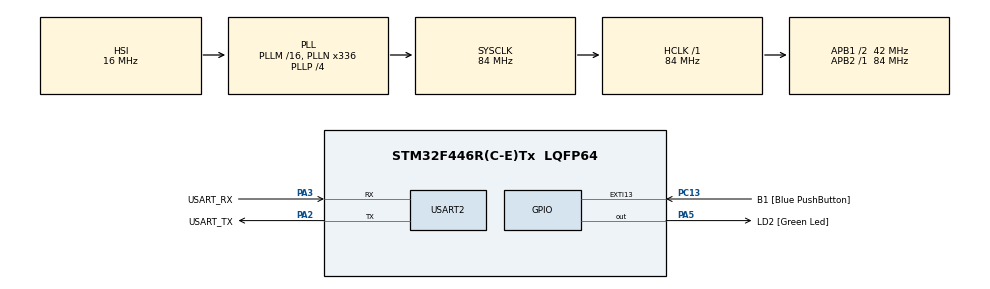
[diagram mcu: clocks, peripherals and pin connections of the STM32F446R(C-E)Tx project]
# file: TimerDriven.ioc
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Mcu.Family=STM32F4
Mcu.Name=STM32F446R(C-E)Tx
Mcu.Package=LQFP64
NVIC.PriorityGroup=NVIC_PRIORITYGROUP_0
PA13.GPIO_Label=TMS
PA13.Mode=Serial_Wire
PA13.Signal=SYS_JTMS-SWDIO
PA14.GPIO_Label=TCK
PA14.Mode=Serial_Wire
PA14.Signal=SYS_JTCK-SWCLK
PA2.GPIO_Label=USART_TX
PA2.Mode=Asynchronous
PA2.Signal=USART2_TX
PA3.GPIO_Label=USART_RX
PA3.Mode=Asynchronous
PA3.Signal=USART2_RX
PA5.GPIO_Label=LD2 [Green Led]
PA5.Signal=GPIO_Output
PB3.GPIO_Label=SWO
PB3.Signal=SYS_JTDO-SWO
PC13.GPIO_Label=B1 [Blue PushButton]
PC13.GPIO_ModeDefaultEXTI=GPIO_MODE_IT_FALLING
PC13.Signal=GPXTI13
PC14-OSC32_IN.Mode=LSE-External-Oscillator
PC14-OSC32_IN.Signal=RCC_OSC32_IN
PC15-OSC32_OUT.Mode=LSE-External-Oscillator
PC15-OSC32_OUT.Signal=RCC_OSC32_OUT
PH0-OSC_IN.Mode=HSE-External-Oscillator
PH0-OSC_IN.Signal=RCC_OSC_IN
PH1-OSC_OUT.Mode=HSE-External-Oscillator
PH1-OSC_OUT.Signal=RCC_OSC_OUT
ProjectManager.HeapSize=0x200
ProjectManager.StackSize=0x400
ProjectManager.TargetToolchain=STM32CubeIDE
RCC.48MHZClocksFreq_Value=84000000
RCC.AHBFreq_Value=84000000
RCC.APB1CLKDivider=RCC_HCLK_DIV2
RCC.APB1Freq_Value=42000000
RCC.APB1TimFreq_Value=84000000
RCC.APB2Freq_Value=84000000
RCC.APB2TimFreq_Value=84000000
RCC.CortexFreq_Value=84000000
RCC.FLatency-AdvancedSettings=FLASH_LATENCY_2
RCC.HCLKFreq_Value=84000000
RCC.HSE_VALUE=8000000
RCC.HSI_VALUE=16000000
RCC.PLLN=336
RCC.PLLP=RCC_PLLP_DIV4
RCC.SYSCLKFreq_VALUE=84000000
RCC.SYSCLKSource=RCC_SYSCLKSOURCE_PLLCLK
RCC.USBFreq_Value=168000000
RCC.VCOOutputFreq_Value=336000000
USART2.VirtualMode=VM_ASYNC
board=NUCLEO-F446RE

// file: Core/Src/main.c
/* USER CODE BEGIN Header */
/**
  ******************************************************************************
  * @file           : main.c
  * @brief          : Main program body
  ******************************************************************************
  * @attention
  *
  * Copyright (c) 2024 STMicroelectronics.
  * All rights reserved.
  *
  * This software is licensed under terms that can be found in the LICENSE file
  * in the root directory of this software component.
  * If no LICENSE file comes with this software, it is provided AS-IS.
  *
  ******************************************************************************
  */
/* USER CODE END Header */
#include "main.h"
#include<stdio.h>

/* Private includes ----------------------------------------------------------
 *
 * */

/* USER CODE BEGIN PTD */

void setTIM2()
{
  //want to set TIM2 APB1
  RCC->APB1ENR |= (1U<<0); //enabling TM2
  //considring tm2 to be of 16MHz
  TIM2->PSC = 16000-1;
  TIM2->ARR = 1000-1;

  TIM2->CNT = 0;

}

void TIM2Delay(int delaySec)
{
   uint32_t MY_ARR_DEFAULT = TIM2->ARR;
  TIM2->ARR *= delaySec;

  TIM2->CNT = 0;

  TIM2->CR1 |= (1<<0);
  while(!((TIM2->SR)&(0x001)));

  TIM2->SR &= ~(1<<0);

   TIM2->ARR = MY_ARR_DEFAULT;
  // TIM2->CR1
}

/* USER CODE END PTD */

/* USER CODE BEGIN PD */
void ToggleLED()
{
  GPIOA->ODR ^= (1<<5);
}
/* USER CODE END PD */

UART_HandleTypeDef huart2;

void SystemClock_Config(void);
static void MX_GPIO_Init(void);
static void MX_USART2_UART_Init(void);

/* USER CODE BEGIN 0 */

  void Interupt_TIM2()
  {
    // it's take that setTIM2 is already called
    TIM2->DIER |= (1U<<0);

  }

  void TIM2_IRQHandler()
  {

  }

/* USER CODE END 0 */

// #define Interupt

#define ExternalInterupt

#ifdef ExternalInterupt

#define EXTI_C13    (2 << 4)
#define BUTTON_PIN (1<<13)

void EXTI15_10_IRQHandler(void){
  if(EXTI->PR & BUTTON_PIN){
      EXTI->PR |= BUTTON_PIN;
      GPIOA->ODR ^= (1<<5);
      printf("in EXTI ISR\n");
  }
}

int main()
{

  RCC->AHB1ENR |= RCC_AHN1ENR_GPIOAEN | RCC_AHB1ENR_GPIOCEN;
  RCC->APB2ENR |= RCC_APB2ENR_SYSCFGEN; // I don't know what is this for

  GPIOA->MODER |= (1<<10);
  GPIOA->OSPEEDR |= (1<<10);

  __disable_irq();

  SYSCFG->EXTICR[3] |= EXTI_C13;
  EXTI->IMR |= BUTTON_PIN;
  EXTI->FTSR |= BUTTON_PIN;

  NVIC_EnableIRQ(EXTI15_10_IRQn);

  __enable_irq();

  while(1)
  {
    printf("in while\n");
    for(uint32_t i=0;i<=0xffffff;i++);
  }
}

#endif

#ifdef Interupt

int main(void)
{

  /* USER CODE BEGIN 1 */

  RCC->AHB1ENR |= (1<<0);

  GPIOA->MODER |= (1<<10);
  GPIOA->OTYPER &= ~(1<<0);
  GPIOA->OSPEEDR |= (3<<10);
  GPIOA->PUPDR &= ~(1<<10);

  setTIM2();
  printf("In main\n");
  /* USER CODE END 1 */

  /* MCU Configuration--------------------------------------------------------*/

  /* Reset of all peripherals, Initializes the Flash interface and the Systick. */
  HAL_Init();

  /* Configure the system clock */
  SystemClock_Config();

  /* Initialize all configured peripherals */
  MX_GPIO_Init();
  MX_USART2_UART_Init();
  /* USER CODE BEGIN 2 */

  int counter=0;
  int rateStart = 5;
  int rateUPto = 0.25;
  int countCheck = 2;
  /* USER CODE END 2 */

  /* Infinite loop */
  /* USER CODE BEGIN WHILE */
  while (1)
  {
	  // TIM2Delay(5);
	  // ToggleLED();
    //delay working fine
    if(counter == countCheck)
    {
      countCheck = 5 - rateStart%5;
      rateStart -= 0.5;
      if(countCheck<counter)
      {
        countCheck = countCheck + counter;
        counter = countCheck - counter;
      }
    }
    if(rateStart<rateUPto)
    {
      GPIOA->ODR |= (1<<5);
    }
    for(int i = 0; i< rateStart; i++)
    {
      ToggleLED();
      TIM2Delay(rateStart);
      ToggleLED();
      TIM2Delay(rateStart);
    }

    counter++;
  }
    /* USER CODE END WHILE */

//    TIM2Delay(5);
//    ToggleLED();
}

#endif

void SystemClock_Config(void)
{
  RCC_OscInitTypeDef RCC_OscInitStruct = {0};
  RCC_ClkInitTypeDef RCC_ClkInitStruct = {0};

  /** Configure the main internal regulator output voltage
  */
  __HAL_RCC_PWR_CLK_ENABLE();
  __HAL_PWR_VOLTAGESCALING_CONFIG(PWR_REGULATOR_VOLTAGE_SCALE3);

  /** Initializes the RCC Oscillators according to the specified parameters
  * in the RCC_OscInitTypeDef structure.
  */
  RCC_OscInitStruct.OscillatorType = RCC_OSCILLATORTYPE_HSI;
  RCC_OscInitStruct.HSIState = RCC_HSI_ON;
  RCC_OscInitStruct.HSICalibrationValue = RCC_HSICALIBRATION_DEFAULT;
  RCC_OscInitStruct.PLL.PLLState = RCC_PLL_ON;
  RCC_OscInitStruct.PLL.PLLSource = RCC_PLLSOURCE_HSI;
  RCC_OscInitStruct.PLL.PLLM = 16;
  RCC_OscInitStruct.PLL.PLLN = 336;
  RCC_OscInitStruct.PLL.PLLP = RCC_PLLP_DIV4;
  RCC_OscInitStruct.PLL.PLLQ = 2;
  RCC_OscInitStruct.PLL.PLLR = 2;
  if (HAL_RCC_OscConfig(&RCC_OscInitStruct) != HAL_OK)
  {
    Error_Handler();
  }

  /** Initializes the CPU, AHB and APB buses clocks
  */
  RCC_ClkInitStruct.ClockType = RCC_CLOCKTYPE_HCLK|RCC_CLOCKTYPE_SYSCLK
                              |RCC_CLOCKTYPE_PCLK1|RCC_CLOCKTYPE_PCLK2;
  RCC_ClkInitStruct.SYSCLKSource = RCC_SYSCLKSOURCE_PLLCLK;
  RCC_ClkInitStruct.AHBCLKDivider = RCC_SYSCLK_DIV1;
  RCC_ClkInitStruct.APB1CLKDivider = RCC_HCLK_DIV2;
  RCC_ClkInitStruct.APB2CLKDivider = RCC_HCLK_DIV1;

  if (HAL_RCC_ClockConfig(&RCC_ClkInitStruct, FLASH_LATENCY_2) != HAL_OK)
  {
    Error_Handler();
  }
}

static void MX_USART2_UART_Init(void)
{

  huart2.Instance = USART2;
  huart2.Init.BaudRate = 115200;
  huart2.Init.WordLength = UART_WORDLENGTH_8B;
  huart2.Init.StopBits = UART_STOPBITS_1;
  huart2.Init.Parity = UART_PARITY_NONE;
  huart2.Init.Mode = UART_MODE_TX_RX;
  huart2.Init.HwFlowCtl = UART_HWCONTROL_NONE;
  huart2.Init.OverSampling = UART_OVERSAMPLING_16;
  if (HAL_UART_Init(&huart2) != HAL_OK)
  {
    Error_Handler();
  }

}

static void MX_GPIO_Init(void)
{
  GPIO_InitTypeDef GPIO_InitStruct = {0};

  /* GPIO Ports Clock Enable */
  __HAL_RCC_GPIOC_CLK_ENABLE();
  __HAL_RCC_GPIOH_CLK_ENABLE();
  __HAL_RCC_GPIOA_CLK_ENABLE();
  __HAL_RCC_GPIOB_CLK_ENABLE();

  /*Configure GPIO pin Output Level */
  HAL_GPIO_WritePin(LD2_GPIO_Port, LD2_Pin, GPIO_PIN_RESET);

  /*Configure GPIO pin : B1_Pin */
  GPIO_InitStruct.Pin = B1_Pin;
  GPIO_InitStruct.Mode = GPIO_MODE_IT_FALLING;
  GPIO_InitStruct.Pull = GPIO_NOPULL;
  HAL_GPIO_Init(B1_GPIO_Port, &GPIO_InitStruct);

  /*Configure GPIO pin : LD2_Pin */
  GPIO_InitStruct.Pin = LD2_Pin;
  GPIO_InitStruct.Mode = GPIO_MODE_OUTPUT_PP;
  GPIO_InitStruct.Pull = GPIO_NOPULL;
  GPIO_InitStruct.Speed = GPIO_SPEED_FREQ_LOW;
  HAL_GPIO_Init(LD2_GPIO_Port, &GPIO_InitStruct);

}

void Error_Handler(void)
{
  __disable_irq();
  while (1)
  {
  }
}
